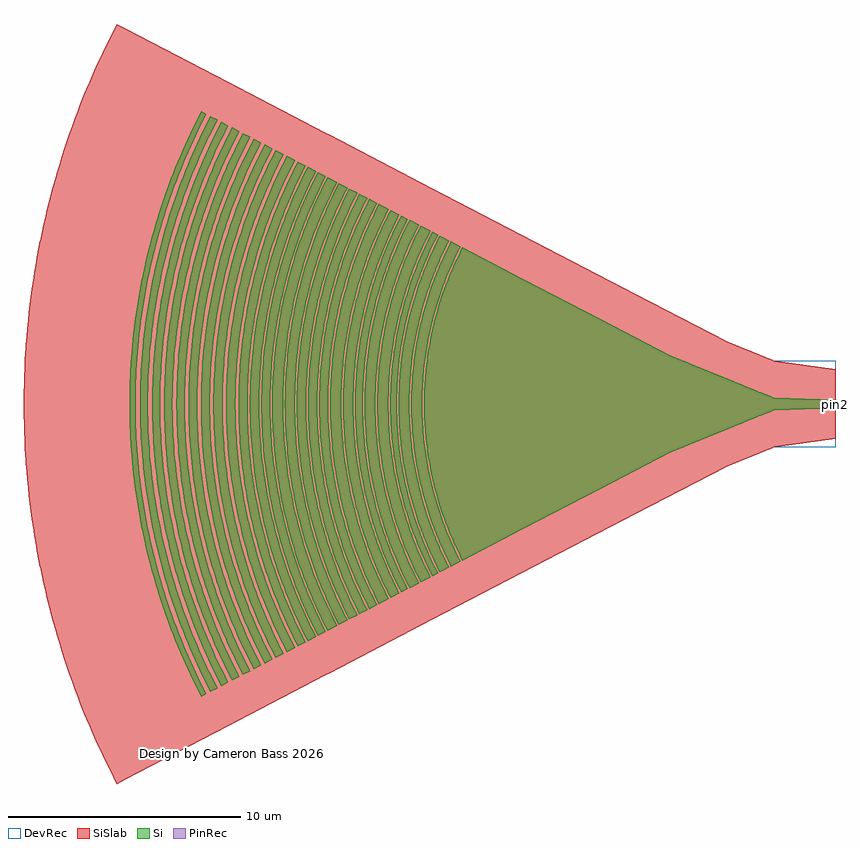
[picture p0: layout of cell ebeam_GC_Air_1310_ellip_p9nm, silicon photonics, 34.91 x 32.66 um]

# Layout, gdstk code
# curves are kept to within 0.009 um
import gdstk
lib = gdstk.Library(unit=1e-6, precision=1e-09)
def P(c, l, *ps):  # polygons
    for p in ps: c.add(gdstk.Polygon(p, *l))
Si = (1, 0)
PinRec = (1, 10)
SiSlab = (2, 0)
DevRec = (68, 0)

ebeam_gc_air_1310_ellip_ = lib.new_cell('ebeam_GC_Air_1310_ellip_p9nm')
P(ebeam_gc_air_1310_ellip_, Si, [(-16.052,-6.728),(-16.418,-5.973),(-16.792,-5.056),(-17.022,-4.387),(-17.287,-3.433),(-17.463,-2.603),(-17.59,-1.764),(-17.668,-0.919),(-17.696,-0.071),(-17.668,0.919),(-17.59,1.764),(-17.463,2.604),(-17.287,3.433),(-17.022,4.387),(-16.792,5.056),(-16.418,5.973),(-16.052,6.728),(-7.074,2.059),(-2.649,0.259),(0,0.175),(0,-0.175),(-2.649,-0.259),(-2.689,-0.27),(-2.842,-0.345),(-3.182,-0.472),(-7.119,-2.078)],
  [(-16.544,-6.983),(-16.921,-6.203),(-17.258,-5.388),(-17.548,-4.556),(-17.788,-3.708),(-17.979,-2.848),(-18.119,-1.977),(-18.218,-0.955),(-18.248,-0.073),(-18.227,0.807),(-18.137,1.832),(-18.006,2.704),(-17.823,3.565),(-17.714,3.992),(-17.548,4.556),(-17.258,5.388),(-16.921,6.203),(-16.544,6.984),(-16.125,6.766),(-16.493,6.006),(-16.82,5.218),(-17.099,4.412),(-17.332,3.591),(-17.543,2.618),(-17.671,1.774),(-17.758,0.782),(-17.778,0.071),(-17.758,-0.782),(-17.671,-1.774),(-17.543,-2.617),(-17.366,-3.453),(-17.141,-4.276),(-16.87,-5.085),(-16.493,-6.006),(-16.125,-6.766)],
  [(-17.025,-7.234),(-17.415,-6.427),(-17.764,-5.583),(-18.064,-4.721),(-18.313,-3.842),(-18.51,-2.951),(-18.655,-2.049),(-18.748,-1.141),(-18.775,-0.684),(-18.789,-0.076),(-18.767,0.836),(-18.692,1.747),(-18.635,2.2),(-18.538,2.801),(-18.349,3.694),(-18.195,4.283),(-18.064,4.721),(-17.764,5.583),(-17.415,6.427),(-17.025,7.234),(-16.616,7.022),(-16.873,6.505),(-17.056,6.101),(-17.387,5.28),(-17.669,4.439),(-17.903,3.585),(-18.086,2.718),(-18.219,1.842),(-18.3,0.959),(-18.33,0.074),(-18.309,-0.811),(-18.219,-1.842),(-18.086,-2.718),(-17.903,-3.585),(-17.669,-4.439),(-17.387,-5.28),(-17.056,-6.101),(-16.873,-6.505),(-16.616,-7.022)],
  [(-17.345,-7.401),(-17.744,-6.575),(-18.101,-5.712),(-18.408,-4.83),(-18.663,-3.931),(-18.865,-3.019),(-19.033,-1.942),(-19.119,-1.012),(-19.15,-0.078),(-19.146,0.389),(-19.119,1.012),(-19.033,1.942),(-18.893,2.866),(-18.7,3.78),(-18.454,4.681),(-18.156,5.566),(-17.988,6.002),(-17.744,6.576),(-17.345,7.401),(-17.098,7.272),(-17.552,6.32),(-17.786,5.756),(-17.947,5.326),(-18.273,4.305),(-18.392,3.863),(-18.53,3.266),(-18.694,2.363),(-18.79,1.604),(-18.849,0.841),(-18.871,0.077),(-18.856,-0.689),(-18.805,-1.451),(-18.694,-2.363),(-18.561,-3.116),(-18.464,-3.565),(-18.314,-4.158),(-17.998,-5.181),(-17.786,-5.755),(-17.552,-6.32),(-17.098,-7.272)],
  [(-17.841,-7.659),(-18.318,-6.658),(-18.679,-5.761),(-18.988,-4.845),(-19.242,-3.912),(-19.442,-2.966),(-19.586,-2.01),(-19.675,-1.047),(-19.708,-0.08),(-19.684,0.886),(-19.605,1.85),(-19.47,2.808),(-19.349,3.441),(-19.242,3.912),(-18.988,4.845),(-18.679,5.761),(-18.505,6.212),(-18.253,6.806),(-17.841,7.659),(-17.418,7.439),(-17.819,6.609),(-18.178,5.742),(-18.486,4.854),(-18.742,3.952),(-18.974,2.88),(-19.114,1.952),(-19.178,1.329),(-19.21,0.86),(-19.232,0.078),(-19.21,-0.86),(-19.178,-1.329),(-19.114,-1.952),(-18.974,-2.88),(-18.779,-3.799),(-18.532,-4.705),(-18.233,-5.595),(-17.883,-6.466),(-17.418,-7.439)],
  [(-18.321,-7.909),(-18.747,-7.027),(-19.007,-6.414),(-19.186,-5.949),(-19.506,-5.003),(-19.768,-4.039),(-19.974,-3.063),(-20.124,-2.075),(-20.215,-1.082),(-20.249,-0.083),(-20.225,0.915),(-20.143,1.91),(-20.003,2.899),(-19.807,3.878),(-19.644,4.523),(-19.506,5.003),(-19.186,5.949),(-19.007,6.414),(-18.747,7.028),(-18.321,7.909),(-17.915,7.698),(-18.33,6.839),(-18.583,6.244),(-18.758,5.79),(-19.067,4.869),(-19.323,3.932),(-19.524,2.98),(-19.669,2.02),(-19.759,1.052),(-19.792,0.081),(-19.768,-0.891),(-19.688,-1.859),(-19.552,-2.822),(-19.463,-3.299),(-19.323,-3.931),(-19.067,-4.868),(-18.758,-5.79),(-18.522,-6.393),(-18.33,-6.839),(-17.915,-7.698)],
  [(-18.683,-8.097),(-19.119,-7.194),(-19.51,-6.249),(-19.846,-5.284),(-20.038,-4.63),(-20.165,-4.135),(-20.376,-3.136),(-20.529,-2.124),(-20.623,-1.107),(-20.657,-0.085),(-20.633,0.936),(-20.549,1.956),(-20.406,2.968),(-20.278,3.637),(-20.165,4.135),(-20.038,4.63),(-19.846,5.284),(-19.51,6.249),(-19.119,7.194),(-18.683,8.097),(-18.394,7.948),(-18.683,7.365),(-18.957,6.754),(-19.146,6.291),(-19.378,5.663),(-19.535,5.186),(-19.723,4.545),(-19.887,3.896),(-19.993,3.406),(-20.138,2.583),(-20.243,1.753),(-20.308,0.919),(-20.332,0.084),(-20.308,-0.919),(-20.243,-1.753),(-20.138,-2.583),(-19.993,-3.406),(-19.887,-3.896),(-19.723,-4.545),(-19.535,-5.186),(-19.378,-5.663),(-19.146,-6.29),(-18.957,-6.754),(-18.683,-7.365),(-18.394,-7.947)],
  [(-19.141,-8.336),(-19.59,-7.407),(-19.865,-6.76),(-20.054,-6.27),(-20.39,-5.273),(-20.667,-4.257),(-20.884,-3.228),(-21.042,-2.187),(-21.138,-1.14),(-21.174,-0.088),(-21.164,0.614),(-21.138,1.14),(-21.042,2.187),(-20.884,3.228),(-20.667,4.257),(-20.39,5.273),(-20.054,6.27),(-19.661,7.247),(-19.444,7.725),(-19.141,8.336),(-18.757,8.136),(-19.196,7.228),(-19.464,6.598),(-19.648,6.119),(-19.975,5.145),(-20.246,4.155),(-20.458,3.15),(-20.612,2.135),(-20.706,1.112),(-20.741,0.086),(-20.716,-0.941),(-20.632,-1.965),(-20.488,-2.981),(-20.394,-3.486),(-20.246,-4.155),(-19.975,-5.145),(-19.648,-6.119),(-19.265,-7.071),(-19.053,-7.539),(-18.757,-8.136)],
  [(-19.64,-8.596),(-20.101,-7.64),(-20.516,-6.637),(-20.872,-5.612),(-21.168,-4.567),(-21.402,-3.508),(-21.575,-2.436),(-21.685,-1.356),(-21.716,-0.814),(-21.734,-0.09),(-21.708,0.994),(-21.618,2.077),(-21.467,3.152),(-21.331,3.862),(-21.211,4.392),(-20.926,5.439),(-20.702,6.127),(-20.516,6.637),(-20.101,7.64),(-19.64,8.596),(-19.215,8.375),(-19.666,7.44),(-20.071,6.464),(-20.251,5.967),(-20.469,5.297),(-20.705,4.448),(-20.933,3.416),(-21.102,2.373),(-21.18,1.672),(-21.221,1.144),(-21.257,0.088),(-21.252,-0.441),(-21.221,-1.144),(-21.124,-2.197),(-20.966,-3.242),(-20.747,-4.277),(-20.469,-5.296),(-20.307,-5.8),(-20.071,-6.464),(-19.666,-7.44),(-19.215,-8.375)],
  [(-20.055,-8.812),(-20.529,-7.83),(-20.954,-6.802),(-21.32,-5.751),(-21.623,-4.68),(-21.863,-3.595),(-22.04,-2.496),(-22.153,-1.39),(-22.185,-0.834),(-22.203,-0.093),(-22.176,1.019),(-22.085,2.128),(-22.015,2.68),(-21.897,3.413),(-21.667,4.501),(-21.479,5.218),(-21.32,5.751),(-20.954,6.802),(-20.529,7.83),(-20.055,8.812),(-19.717,8.636),(-20.181,7.674),(-20.598,6.667),(-20.955,5.637),(-21.252,4.588),(-21.488,3.523),(-21.582,2.987),(-21.684,2.267),(-21.784,1.18),(-21.821,0.091),(-21.811,-0.636),(-21.742,-1.724),(-21.637,-2.627),(-21.453,-3.701),(-21.337,-4.234),(-21.16,-4.94),(-20.955,-5.636),(-20.724,-6.326),(-20.466,-7.005),(-20.255,-7.507),(-19.951,-8.168),(-19.717,-8.636)],
  [(-20.475,-9.031),(-20.962,-8.023),(-21.398,-6.969),(-21.772,-5.893),(-22.083,-4.796),(-22.214,-4.241),(-22.364,-3.497),(-22.534,-2.369),(-22.639,-1.235),(-22.678,-0.095),(-22.65,1.044),(-22.556,2.181),(-22.397,3.31),(-22.293,3.87),(-22.128,4.612),(-21.936,5.346),(-21.772,5.893),(-21.398,6.969),(-20.962,8.023),(-20.475,9.031),(-20.129,8.851),(-20.606,7.863),(-21.033,6.832),(-21.398,5.776),(-21.608,5.062),(-21.748,4.52),(-21.979,3.427),(-22.146,2.323),(-22.248,1.209),(-22.276,0.652),(-22.286,0.093),(-22.268,-0.838),(-22.205,-1.767),(-22.097,-2.692),(-21.909,-3.793),(-21.791,-4.339),(-21.608,-5.062),(-21.453,-5.598),(-21.224,-6.306),(-20.966,-7.005),(-20.755,-7.522),(-20.45,-8.202),(-20.129,-8.851)],
  [(-20.91,-9.257),(-21.41,-8.221),(-21.856,-7.142),(-22.24,-6.039),(-22.559,-4.915),(-22.693,-4.346),(-22.847,-3.583),(-23.022,-2.428),(-23.129,-1.265),(-23.168,-0.097),(-23.163,0.487),(-23.129,1.265),(-23.022,2.428),(-22.847,3.584),(-22.605,4.726),(-22.298,5.853),(-21.925,6.96),(-21.489,8.044),(-21.163,8.751),(-20.91,9.257),(-20.553,9.071),(-20.884,8.403),(-21.12,7.882),(-21.548,6.82),(-21.912,5.735),(-22.214,4.631),(-22.451,3.511),(-22.622,2.38),(-22.727,1.239),(-22.766,0.096),(-22.747,-0.859),(-22.683,-1.81),(-22.572,-2.758),(-22.379,-3.886),(-22.214,-4.631),(-22.071,-5.186),(-21.856,-5.917),(-21.677,-6.461),(-21.481,-6.999),(-21.196,-7.706),(-20.884,-8.403),(-20.553,-9.071)],
  [(-21.361,-9.492),(-21.707,-8.794),(-21.954,-8.248),(-22.401,-7.137),(-22.784,-6.002),(-23.099,-4.846),(-23.347,-3.675),(-23.526,-2.49),(-23.636,-1.297),(-23.676,-0.1),(-23.671,0.499),(-23.636,1.298),(-23.526,2.49),(-23.347,3.675),(-23.099,4.846),(-22.784,6.002),(-22.401,7.137),(-22.186,7.696),(-21.954,8.249),(-21.707,8.794),(-21.361,9.492),(-20.983,9.295),(-21.486,8.255),(-21.935,7.172),(-22.319,6.063),(-22.539,5.314),(-22.685,4.745),(-22.928,3.597),(-23.104,2.438),(-23.211,1.27),(-23.24,0.685),(-23.251,0.098),(-23.246,-0.489),(-23.223,-1.074),(-23.166,-1.855),(-23.104,-2.438),(-22.928,-3.597),(-22.685,-4.745),(-22.539,-5.314),(-22.319,-6.063),(-21.935,-7.171),(-21.486,-8.255),(-20.983,-9.295)],
  [(-21.849,-9.745),(-22.373,-8.658),(-22.617,-8.093),(-22.843,-7.521),(-23.248,-6.36),(-23.583,-5.176),(-23.768,-4.377),(-23.886,-3.774),(-24.07,-2.557),(-24.183,-1.332),(-24.213,-0.717),(-24.224,-0.102),(-24.195,1.127),(-24.094,2.354),(-23.987,3.166),(-23.886,3.774),(-23.768,4.377),(-23.632,4.977),(-23.479,5.573),(-23.308,6.164),(-23.121,6.75),(-22.915,7.33),(-22.456,8.471),(-22.114,9.216),(-21.849,9.746),(-21.434,9.53),(-21.949,8.464),(-22.409,7.354),(-22.615,6.788),(-22.803,6.217),(-23.131,5.061),(-23.27,4.475),(-23.391,3.886),(-23.583,2.699),(-23.705,1.502),(-23.74,0.902),(-23.759,0.1),(-23.73,-1.102),(-23.672,-1.902),(-23.608,-2.5),(-23.428,-3.689),(-23.179,-4.866),(-22.862,-6.026),(-22.48,-7.166),(-22.03,-8.281),(-21.782,-8.829),(-21.434,-9.53)],
  [(-22.263,-9.961),(-22.799,-8.849),(-23.048,-8.271),(-23.28,-7.687),(-23.693,-6.5),(-23.873,-5.897),(-24.086,-5.087),(-24.345,-3.857),(-24.448,-3.236),(-24.533,-2.613),(-24.6,-1.988),(-24.649,-1.362),(-24.691,-0.105),(-24.685,0.524),(-24.661,1.152),(-24.558,2.405),(-24.479,3.029),(-24.382,3.651),(-24.267,4.269),(-24.086,5.087),(-23.755,6.3),(-23.563,6.899),(-23.28,7.687),(-23.048,8.272),(-22.799,8.85),(-22.263,9.961),(-21.922,9.784),(-22.277,9.066),(-22.532,8.504),(-22.847,7.744),(-23.064,7.165),(-23.263,6.581),(-23.502,5.793),(-23.662,5.197),(-23.848,4.394),(-23.967,3.788),(-24.068,3.179),(-24.197,2.158),(-24.277,1.131),(-24.307,0.103),(-24.301,-0.515),(-24.277,-1.132),(-24.197,-2.158),(-24.068,-3.179),(-23.967,-3.788),(-23.848,-4.394),(-23.662,-5.197),(-23.502,-5.793),(-23.263,-6.58),(-23.064,-7.165),(-22.771,-7.935),(-22.532,-8.503),(-22.277,-9.066),(-21.922,-9.784)],
  [(-22.697,-10.187),(-22.976,-9.631),(-23.247,-9.048),(-23.502,-8.457),(-23.739,-7.86),(-23.959,-7.256),(-24.161,-6.646),(-24.403,-5.823),(-24.563,-5.201),(-24.705,-4.574),(-24.828,-3.944),(-24.934,-3.309),(-25.021,-2.672),(-25.089,-2.033),(-25.139,-1.392),(-25.17,-0.75),(-25.182,-0.107),(-25.176,0.536),(-25.151,1.178),(-25.108,1.82),(-25.046,2.459),(-24.965,3.097),(-24.866,3.733),(-24.705,4.574),(-24.563,5.201),(-24.403,5.823),(-24.224,6.442),(-24.028,7.054),(-23.814,7.66),(-23.583,8.259),(-23.334,8.853),(-22.976,9.631),(-22.697,10.187),(-22.339,10.001),(-22.703,9.266),(-22.964,8.691),(-23.286,7.914),(-23.507,7.323),(-23.775,6.525),(-23.955,5.921),(-24.119,5.311),(-24.309,4.491),(-24.501,3.458),(-24.644,2.415),(-24.735,1.366),(-24.766,0.737),(-24.778,0.105),(-24.758,-0.947),(-24.666,-2.205),(-24.534,-3.249),(-24.351,-4.285),(-24.218,-4.902),(-24.012,-5.718),(-23.775,-6.525),(-23.507,-7.323),(-23.286,-7.914),(-22.964,-8.691),(-22.703,-9.266),(-22.339,-10.001)],
  [(-23.129,-10.412),(-23.417,-9.838),(-23.694,-9.243),(-23.87,-8.842),(-24.197,-8.029),(-24.629,-6.789),(-24.817,-6.159),(-24.987,-5.525),(-25.138,-4.887),(-25.271,-4.244),(-25.385,-3.596),(-25.48,-2.947),(-25.556,-2.295),(-25.628,-1.422),(-25.66,-0.766),(-25.672,-0.109),(-25.666,0.547),(-25.641,1.203),(-25.596,1.859),(-25.533,2.512),(-25.45,3.164),(-25.311,4.029),(-25.184,4.673),(-25.039,5.313),(-24.875,5.949),(-24.693,6.58),(-24.493,7.206),(-24.274,7.825),(-24.037,8.437),(-23.783,9.043),(-23.512,9.641),(-23.129,10.412),(-22.787,10.235),(-23.161,9.478),(-23.514,8.693),(-23.758,8.096),(-23.984,7.491),(-24.258,6.675),(-24.443,6.056),(-24.662,5.224),(-24.805,4.594),(-25.002,3.536),(-25.095,2.898),(-25.17,2.256),(-25.253,1.183),(-25.285,0.108),(-25.264,-0.969),(-25.17,-2.256),(-25.095,-2.897),(-25.002,-3.536),(-24.805,-4.594),(-24.662,-5.224),(-24.443,-6.056),(-24.258,-6.675),(-23.984,-7.491),(-23.758,-8.096),(-23.428,-8.89),(-23.161,-9.478),(-22.787,-10.234)],
  [(-23.598,-10.657),(-23.896,-10.063),(-24.18,-9.455),(-24.446,-8.837),(-24.694,-8.213),(-24.925,-7.582),(-25.136,-6.945),(-25.329,-6.3),(-25.503,-5.652),(-25.658,-4.998),(-25.793,-4.341),(-25.945,-3.457),(-26.036,-2.792),(-26.107,-2.124),(-26.159,-1.455),(-26.192,-0.783),(-26.205,-0.112),(-26.198,0.56),(-26.172,1.231),(-26.127,1.902),(-26.062,2.57),(-25.945,3.458),(-25.834,4.121),(-25.705,4.78),(-25.556,5.435),(-25.389,6.085),(-25.202,6.731),(-24.997,7.371),(-24.773,8.004),(-24.531,8.63),(-24.271,9.25),(-23.993,9.862),(-23.598,10.657),(-23.245,10.473),(-23.536,9.893),(-23.904,9.093),(-24.16,8.485),(-24.473,7.662),(-24.686,7.037),(-24.943,6.195),(-25.167,5.343),(-25.313,4.699),(-25.515,3.616),(-25.664,2.526),(-25.727,1.869),(-25.772,1.21),(-25.804,0.11),(-25.783,-0.991),(-25.745,-1.649),(-25.687,-2.307),(-25.549,-3.4),(-25.313,-4.699),(-25.167,-5.343),(-24.943,-6.195),(-24.686,-7.036),(-24.473,-7.661),(-24.16,-8.485),(-23.904,-9.093),(-23.536,-9.893),(-23.245,-10.473)],
  [(-24.081,-10.908),(-24.389,-10.295),(-24.679,-9.672),(-24.952,-9.04),(-25.206,-8.402),(-25.442,-7.757),(-25.726,-6.886),(-25.917,-6.225),(-26.088,-5.56),(-26.24,-4.89),(-26.373,-4.216),(-26.486,-3.537),(-26.579,-2.856),(-26.652,-2.173),(-26.705,-1.488),(-26.739,-0.801),(-26.752,-0.114),(-26.745,0.573),(-26.719,1.259),(-26.672,1.945),(-26.579,2.857),(-26.486,3.537),(-26.373,4.216),(-26.24,4.89),(-26.088,5.56),(-25.917,6.225),(-25.726,6.886),(-25.442,7.757),(-25.206,8.402),(-24.952,9.041),(-24.679,9.672),(-24.389,10.295),(-24.081,10.908),(-23.733,10.727),(-24.131,9.924),(-24.411,9.308),(-24.757,8.476),(-24.994,7.843),(-25.281,6.988),(-25.475,6.341),(-25.705,5.469),(-25.854,4.81),(-26.061,3.703),(-26.214,2.586),(-26.312,1.463),(-26.345,0.789),(-26.358,0.113),(-26.336,-1.014),(-26.238,-2.362),(-26.096,-3.48),(-25.9,-4.589),(-25.757,-5.25),(-25.536,-6.124),(-25.281,-6.988),(-24.994,-7.843),(-24.757,-8.476),(-24.411,-9.308),(-24.034,-10.127),(-23.733,-10.727)],
  [(-24.551,-11.153),(-24.868,-10.523),(-25.165,-9.886),(-25.444,-9.24),(-25.703,-8.588),(-25.945,-7.928),(-26.166,-7.262),(-26.43,-6.363),(-26.606,-5.683),(-26.761,-4.998),(-26.897,-4.309),(-27.012,-3.615),(-27.107,-2.92),(-27.182,-2.221),(-27.237,-1.521),(-27.271,-0.819),(-27.284,-0.117),(-27.271,0.819),(-27.237,1.522),(-27.182,2.222),(-27.107,2.92),(-27.012,3.615),(-26.897,4.309),(-26.761,4.998),(-26.606,5.683),(-26.43,6.363),(-26.166,7.262),(-25.945,7.928),(-25.703,8.588),(-25.444,9.241),(-25.165,9.886),(-24.868,10.523),(-24.551,11.153),(-24.214,10.978),(-24.625,10.151),(-24.912,9.521),(-25.18,8.884),(-25.508,8.022),(-25.802,7.148),(-26,6.486),(-26.18,5.818),(-26.388,4.92),(-26.6,3.788),(-26.756,2.645),(-26.857,1.497),(-26.89,0.807),(-26.903,0.115),(-26.897,-0.576),(-26.87,-1.268),(-26.78,-2.416),(-26.7,-3.103),(-26.6,-3.788),(-26.388,-4.92),(-26.18,-5.818),(-26,-6.486),(-25.802,-7.148),(-25.508,-8.022),(-25.18,-8.884),(-24.912,-9.521),(-24.625,-10.151),(-24.214,-10.978)],
  [(-25.024,-11.399),(-25.349,-10.753),(-25.653,-10.103),(-25.937,-9.443),(-26.203,-8.776),(-26.527,-7.876),(-26.675,-7.421),(-26.882,-6.732),(-27.068,-6.039),(-27.233,-5.341),(-27.379,-4.638),(-27.503,-3.931),(-27.608,-3.221),(-27.691,-2.508),(-27.754,-1.793),(-27.805,-0.837),(-27.819,-0.12),(-27.812,0.598),(-27.784,1.315),(-27.735,2.032),(-27.666,2.746),(-27.575,3.458),(-27.423,4.403),(-27.284,5.108),(-27.125,5.807),(-26.946,6.502),(-26.746,7.193),(-26.527,7.876),(-26.203,8.776),(-25.937,9.443),(-25.653,10.103),(-25.349,10.753),(-25.024,11.399),(-24.694,11.228),(-25.014,10.592),(-25.409,9.735),(-25.683,9.084),(-26.019,8.203),(-26.247,7.534),(-26.522,6.633),(-26.706,5.949),(-26.919,5.031),(-27.135,3.873),(-27.295,2.705),(-27.364,2.001),(-27.412,1.295),(-27.446,0.118),(-27.439,-0.589),(-27.412,-1.295),(-27.32,-2.47),(-27.172,-3.64),(-27.056,-4.337),(-26.919,-5.031),(-26.706,-5.949),(-26.522,-6.632),(-26.247,-7.534),(-26.019,-8.203),(-25.683,-9.084),(-25.409,-9.735),(-25.014,-10.592),(-24.694,-11.227)],
  [(-25.486,-11.639),(-25.818,-10.979),(-26.128,-10.315),(-26.418,-9.641),(-26.689,-8.96),(-27.021,-8.041),(-27.172,-7.577),(-27.383,-6.874),(-27.573,-6.166),(-27.794,-5.215),(-27.935,-4.496),(-28.056,-3.772),(-28.155,-3.046),(-28.233,-2.318),(-28.29,-1.587),(-28.325,-0.855),(-28.34,-0.122),(-28.325,0.855),(-28.29,1.587),(-28.233,2.318),(-28.155,3.046),(-28.056,3.772),(-27.935,4.496),(-27.794,5.215),(-27.631,5.929),(-27.448,6.639),(-27.245,7.343),(-27.021,8.041),(-26.689,8.961),(-26.324,9.868),(-26.128,10.315),(-25.818,10.979),(-25.486,11.639),(-25.168,11.474),(-25.6,10.606),(-25.899,9.948),(-26.269,9.059),(-26.523,8.382),(-26.83,7.469),(-27.037,6.777),(-27.283,5.846),(-27.443,5.141),(-27.664,3.958),(-27.769,3.242),(-27.853,2.525),(-27.946,1.324),(-27.981,0.121),(-27.958,-1.084),(-27.916,-1.804),(-27.853,-2.524),(-27.769,-3.242),(-27.664,-3.957),(-27.443,-5.14),(-27.225,-6.079),(-27.037,-6.777),(-26.83,-7.469),(-26.523,-8.382),(-26.269,-9.059),(-25.899,-9.948),(-25.6,-10.606),(-25.168,-11.474)],
  [(-25.951,-11.881),(-26.29,-11.207),(-26.607,-10.529),(-26.903,-9.842),(-27.18,-9.147),(-27.436,-8.444),(-27.673,-7.734),(-27.888,-7.017),(-28.082,-6.294),(-28.307,-5.323),(-28.452,-4.589),(-28.574,-3.85),(-28.676,-3.109),(-28.756,-2.366),(-28.814,-1.62),(-28.85,-0.872),(-28.864,-0.125),(-28.85,0.872),(-28.814,1.62),(-28.756,2.366),(-28.676,3.11),(-28.574,3.851),(-28.452,4.589),(-28.307,5.323),(-28.141,6.052),(-27.955,6.777),(-27.747,7.496),(-27.518,8.208),(-27.268,8.913),(-26.998,9.611),(-26.607,10.529),(-26.29,11.207),(-25.951,11.882),(-25.638,11.719),(-25.973,11.054),(-26.385,10.16),(-26.671,9.48),(-27.022,8.56),(-27.26,7.862),(-27.548,6.921),(-27.739,6.209),(-27.962,5.25),(-28.187,4.042),(-28.354,2.823),(-28.426,2.088),(-28.476,1.352),(-28.512,0.123),(-28.488,-1.107),(-28.445,-1.843),(-28.38,-2.578),(-28.294,-3.311),(-28.187,-4.041),(-27.962,-5.25),(-27.739,-6.208),(-27.548,-6.92),(-27.26,-7.862),(-27.022,-8.56),(-26.671,-9.48),(-26.385,-10.159),(-25.973,-11.053),(-25.638,-11.719)],
  [(-26.41,-12.12),(-26.756,-11.432),(-27.079,-10.741),(-27.381,-10.039),(-27.663,-9.33),(-27.926,-8.613),(-28.166,-7.889),(-28.385,-7.157),(-28.583,-6.421),(-28.813,-5.43),(-28.961,-4.681),(-29.086,-3.928),(-29.189,-3.172),(-29.271,-2.413),(-29.33,-1.653),(-29.367,-0.89),(-29.382,-0.127),(-29.374,0.636),(-29.345,1.398),(-29.293,2.16),(-29.219,2.92),(-29.123,3.676),(-28.961,4.681),(-28.813,5.43),(-28.644,6.174),(-28.454,6.913),(-28.242,7.647),(-28.008,8.373),(-27.753,9.092),(-27.478,9.804),(-27.079,10.741),(-26.756,11.432),(-26.41,12.12),(-26.107,11.963),(-26.449,11.284),(-26.768,10.601),(-27.067,9.91),(-27.434,8.975),(-27.763,8.026),(-27.987,7.306),(-28.252,6.338),(-28.426,5.605),(-28.579,4.867),(-28.71,4.125),(-28.88,2.882),(-28.99,1.631),(-29.026,0.879),(-29.041,0.126),(-29.033,-0.628),(-29.004,-1.381),(-28.907,-2.632),(-28.749,-3.877),(-28.625,-4.62),(-28.479,-5.359),(-28.252,-6.338),(-28.057,-7.064),(-27.84,-7.786),(-27.52,-8.738),(-27.255,-9.444),(-26.87,-10.371),(-26.558,-11.057),(-26.107,-11.963)],
  [(-26.88,-12.365),(-27.338,-11.443),(-27.66,-10.734),(-27.962,-10.014),(-28.243,-9.287),(-28.503,-8.553),(-28.741,-7.811),(-28.957,-7.061),(-29.152,-6.306),(-29.324,-5.546),(-29.474,-4.782),(-29.602,-4.012),(-29.708,-3.24),(-29.79,-2.465),(-29.851,-1.688),(-29.889,-0.909),(-29.904,-0.13),(-29.889,0.909),(-29.851,1.688),(-29.79,2.465),(-29.708,3.24),(-29.602,4.012),(-29.474,4.782),(-29.324,5.547),(-29.152,6.306),(-28.957,7.061),(-28.741,7.811),(-28.503,8.553),(-28.243,9.288),(-27.962,10.014),(-27.66,10.734),(-27.338,11.443),(-26.88,12.366),(-26.574,12.207),(-27.034,11.282),(-27.353,10.582),(-27.746,9.636),(-28.016,8.916),(-28.343,7.945),(-28.563,7.209),(-28.763,6.467),(-28.94,5.719),(-29.096,4.966),(-29.23,4.21),(-29.404,2.94),(-29.478,2.175),(-29.53,1.408),(-29.568,0.128),(-29.543,-1.153),(-29.498,-1.919),(-29.431,-2.685),(-29.27,-3.956),(-29.143,-4.714),(-28.995,-5.468),(-28.763,-6.466),(-28.563,-7.209),(-28.343,-7.945),(-28.016,-8.916),(-27.746,-9.636),(-27.353,-10.582),(-27.034,-11.282),(-26.574,-12.206)],
  [(-27.278,-12.573),(-27.637,-11.857),(-27.972,-11.14),(-28.285,-10.413),(-28.577,-9.677),(-28.849,-8.934),(-29.098,-8.183),(-29.325,-7.424),(-29.53,-6.66),(-29.712,-5.89),(-29.872,-5.115),(-30.01,-4.334),(-30.125,-3.552),(-30.242,-2.503),(-30.298,-1.795),(-30.342,-0.923),(-30.357,-0.132),(-30.349,0.659),(-30.319,1.45),(-30.265,2.241),(-30.158,3.29),(-30.051,4.074),(-29.921,4.856),(-29.768,5.632),(-29.593,6.404),(-29.396,7.17),(-29.176,7.931),(-28.935,8.685),(-28.67,9.431),(-28.385,10.169),(-27.972,11.141),(-27.637,11.858),(-27.278,12.573),(-27.053,12.456),(-27.514,11.526),(-27.839,10.811),(-28.24,9.845),(-28.516,9.109),(-28.849,8.117),(-29.075,7.364),(-29.278,6.607),(-29.459,5.843),(-29.618,5.073),(-29.754,4.301),(-29.931,3.004),(-30.046,1.7),(-30.084,0.916),(-30.099,0.131),(-30.074,-1.178),(-30.028,-1.961),(-29.959,-2.743),(-29.868,-3.523),(-29.754,-4.301),(-29.618,-5.073),(-29.459,-5.842),(-29.278,-6.607),(-29.075,-7.364),(-28.849,-8.117),(-28.516,-9.109),(-28.24,-9.845),(-27.839,-10.811),(-27.514,-11.526),(-27.053,-12.456)])
P(ebeam_gc_air_1310_ellip_, SiSlab, [(-30.904,-16.329),(-31.366,-15.41),(-31.801,-14.477),(-32.208,-13.533),(-32.588,-12.577),(-32.94,-11.61),(-33.264,-10.634),(-33.559,-9.648),(-33.825,-8.655),(-34.062,-7.654),(-34.27,-6.647),(-34.449,-5.634),(-34.598,-4.616),(-34.717,-3.594),(-34.807,-2.569),(-34.867,-1.543),(-34.9,-0.171),(-34.89,0.857),(-34.85,1.885),(-34.781,2.912),(-34.681,3.935),(-34.552,4.956),(-34.393,5.972),(-34.135,7.319),(-33.907,8.322),(-33.651,9.318),(-33.365,10.307),(-33.051,11.286),(-32.709,12.256),(-32.338,13.216),(-31.94,14.164),(-31.366,15.41),(-30.904,16.329),(-4.744,2.708),(-2.65,1.855),(0,1.5),(0,-1.5),(-2.65,-1.855),(-4.728,-2.7)])
P(ebeam_gc_air_1310_ellip_, DevRec, [(-30.904,-16.329),(-31.366,-15.41),(-31.801,-14.477),(-32.208,-13.533),(-32.588,-12.577),(-32.94,-11.61),(-33.264,-10.634),(-33.559,-9.648),(-33.825,-8.655),(-34.062,-7.654),(-34.27,-6.647),(-34.449,-5.634),(-34.598,-4.616),(-34.717,-3.594),(-34.807,-2.569),(-34.867,-1.543),(-34.9,-0.171),(-34.89,0.857),(-34.85,1.885),(-34.781,2.912),(-34.681,3.935),(-34.552,4.956),(-34.393,5.972),(-34.135,7.319),(-33.907,8.322),(-33.651,9.318),(-33.365,10.307),(-33.051,11.286),(-32.709,12.256),(-32.338,13.216),(-31.94,14.164),(-31.366,15.41),(-30.904,16.329),(-4.744,2.708),(-2.65,1.855),(0,1.855),(0,-1.855),(-2.65,-1.855),(-4.728,-2.7)])
ebeam_gc_air_1310_ellip_.add(gdstk.FlexPath([(-0.01,0),(0.01,0)], 0.35, ends="flush", simple_path=True, layer=1, datatype=10))  # PinRec
ebeam_gc_air_1310_ellip_.add(gdstk.Label('pin2', (0,0), layer=1, texttype=10))
ebeam_gc_air_1310_ellip_.add(gdstk.Label('Design by Cameron Bass 2026', (-25.94,-15.02), layer=10, texttype=0))

lib.write_gds('ebeam_GC_Air_1310_ellip_p9nm.gds')
